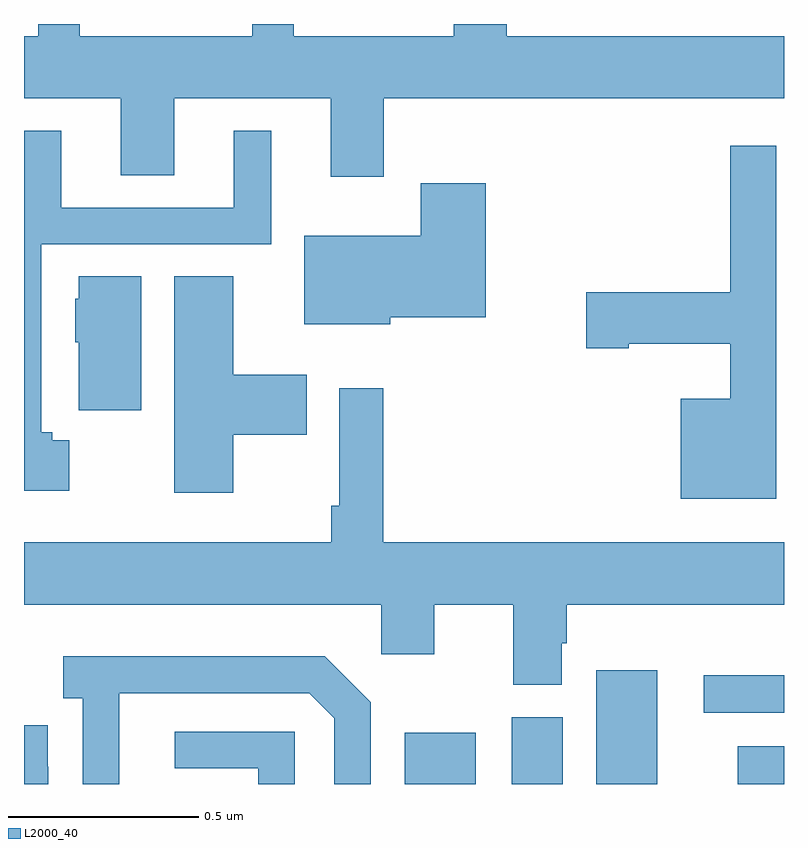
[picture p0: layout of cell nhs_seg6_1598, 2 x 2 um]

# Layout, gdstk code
import gdstk
lib = gdstk.Library(unit=1e-6, precision=1e-09)
def R(c, l, rs):  # rectangles x0, y0, x1, y1
    for r in rs: c.add(gdstk.rectangle(r[:2], r[2:], *l))
def P(c, l, *ps):  # polygons
    for p in ps: c.add(gdstk.Polygon(p, *l))
L2000_40 = (2000, 40)

nhs_seg6_1598 = lib.new_cell('nhs_seg6_1598')
R(nhs_seg6_1598, L2000_40, [(132.002,977.5,132.189,977.635), (132.284,977.5,132.418,977.676), (132.506,977.5,132.667,977.8), (132.878,977.5,133,977.599), (132.789,977.688,133,977.786)])
P(nhs_seg6_1598, L2000_40, [(131.947,979.304),(133,979.304),(133,979.468),(132.271,979.468),(132.271,979.5),(132.131,979.5),(132.131,979.468),(131.71,979.468),(131.71,979.5),(131.6,979.5),(131.6,979.468),(131.147,979.468),(131.147,979.5),(131.037,979.5),(131.037,979.468),(131,979.468),(131,979.304),(131.255,979.304),(131.255,979.102),(131.395,979.102),(131.395,979.304),(131.807,979.304),(131.807,979.098),(131.947,979.098)],
  [(131.119,978.404),(131.074,978.404),(131.074,978.426),(131.046,978.426),(131.046,978.921),(131.65,978.921),(131.65,979.219),(131.552,979.219),(131.552,979.017),(131.098,979.017),(131.098,979.219),(131,979.219),(131,978.272),(131.119,978.272)],
  [(132.979,979.18),(132.858,979.18),(132.858,978.794),(132.48,978.794),(132.48,978.647),(132.592,978.647),(132.592,978.659),(132.858,978.659),(132.858,978.514),(132.728,978.514),(132.728,978.251),(132.979,978.251)],
  [(131.964,978.728),(132.215,978.728),(132.215,979.081),(132.044,979.081),(132.044,978.943),(131.738,978.943),(131.738,978.71),(131.964,978.71)],
  [(131.308,978.836),(131.144,978.836),(131.144,978.777),(131.135,978.777),(131.135,978.663),(131.144,978.663),(131.144,978.483),(131.308,978.483)],
  [(131.551,978.419),(131.744,978.419),(131.744,978.577),(131.551,978.577),(131.551,978.836),(131.396,978.836),(131.396,978.267),(131.551,978.267)],
  [(132.415,977.871),(132.428,977.871),(132.428,977.972),(133,977.972),(133,978.136),(131.945,978.136),(131.945,978.541),(131.829,978.541),(131.829,978.232),(131.809,978.232),(131.809,978.136),(131,978.136),(131,977.972),(131.94,977.972),(131.94,977.841),(132.079,977.841),(132.079,977.972),(132.287,977.972),(132.287,977.761),(132.415,977.761)],
  [(131.25,977.539),(131.251,977.539),(131.251,977.739),(131.751,977.739),(131.817,977.673),(131.817,977.5),(131.913,977.5),(131.913,977.715),(131.792,977.836),(131.103,977.836),(131.103,977.726),(131.154,977.726),(131.154,977.5),(131.25,977.5)],
  [(131.064,977.546),(131.063,977.546),(131.063,977.655),(131,977.655),(131,977.5),(131.064,977.5)],
  [(131.712,977.637),(131.397,977.637),(131.397,977.541),(131.616,977.541),(131.616,977.5),(131.712,977.5)])

lib.write_gds('nhs_seg6_1598.gds')
